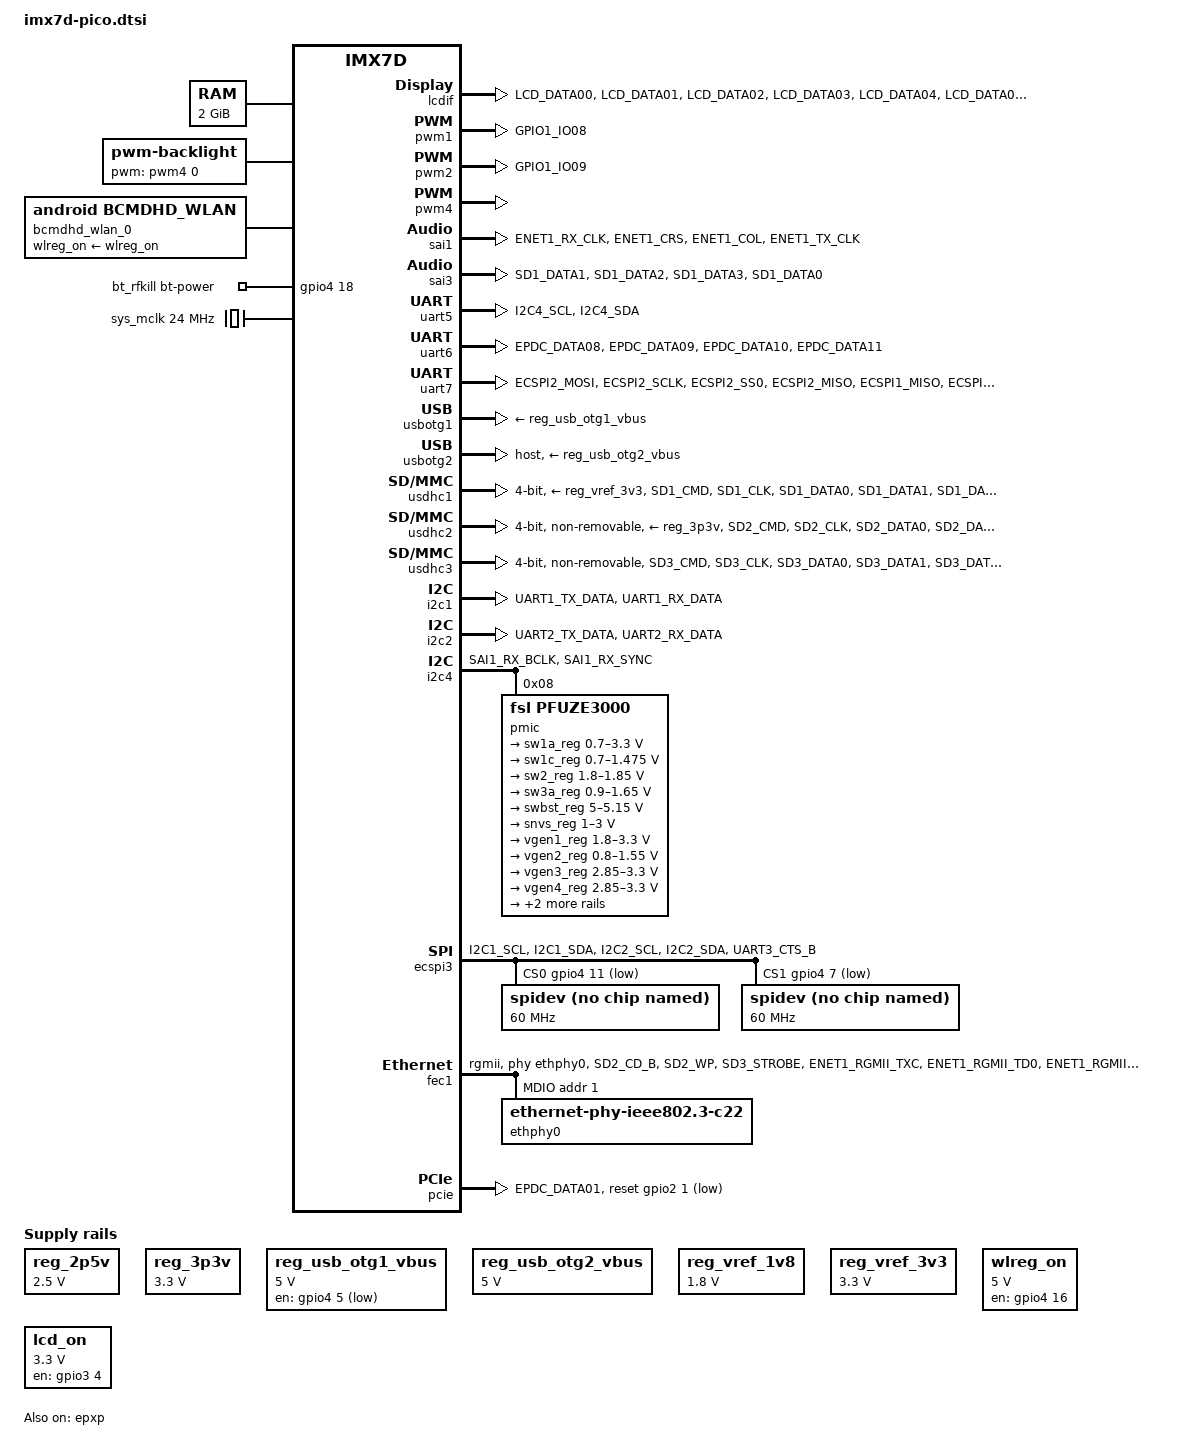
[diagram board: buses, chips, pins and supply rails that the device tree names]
/*
 * Copyright 2016 Technexion Ltd.
 * Copyright 2017 NXP
 *
 * Author: Tapani Utriainen <tapani@technexion.com>
 *
 * This program is free software; you can redistribute it and/or modify
 * it under the terms of the GNU General Public License version 2 as
 * published by the Free Software Foundation.
 *
 */

#include <dt-bindings/input/input.h>
#include <dt-bindings/gpio/gpio.h>

/* audio codec */
#define PICO_AUD_I2S_CHANNEL sai1
#define PICO_AUD_MUX_INT 3
#define PICO_AUD_MUX_EXT 3
#define PICO_AUD_CLK_SRC sys_mclk 1

/* GPIOs on PICO connector */
#define PICO_EXT_GPIO_P24 gpio2 0
#define PICO_EXT_GPIO_P26 gpio2 1
#define PICO_EXT_GPIO_P28 gpio2 2
#define PICO_EXT_GPIO_P30 gpio2 3
#define PICO_EXT_GPIO_P32 gpio2 4
#define PICO_EXT_GPIO_P34 gpio2 5
#define PICO_EXT_GPIO_P25 gpio2 6
#define PICO_EXT_GPIO_P48 gpio2 7
#define PICO_EXT_GPIO_P42 gpio2 12
#define PICO_EXT_GPIO_P44 gpio2 13

/* GPIOs that go to expansion header on baseboard */
#define PICO_EXT_GPIO_EXP0 pca9554 0
#define PICO_EXT_GPIO_EXP1 pca9554 1
#define PICO_EXT_GPIO_EXP2 pca9554 2
#define PICO_EXT_GPIO_EXP3 pca9554 3
#define PICO_EXT_GPIO_EXP4 pca9554 4
#define PICO_EXT_GPIO_EXP5 pca9554 5
#define PICO_EXT_GPIO_EXP6 gpio5 30
#define PICO_EXT_GPIO_EXP7 gpio5 27

#define can1 flexcan1
#define can2 flexcan2
#define reg_1p8v reg_vref_1v8

#define PICO_EXT_MIPI_CSI_OV5645_IOMUX &pinctrl_mipi_csi
#define PICO_EXT_GPIO_P65 gpio1 5
#define PICO_EXT_GPIO_P67 gpio1 4

/ {
	aliases {
		mxcfb0 = &mxcfb1;
	};

	memory {
		reg = <0x80000000 0x80000000>;
	};

	backlight {
		compatible = "pwm-backlight";
		pinctrl-names = "default";
		pinctrl-0 = <&pinctrl_backlight>;
		pwms = <&pwm4 0 5000000 0>;
		brightness-levels = <0 4 8 16 32 64 128 255>;
		default-brightness-level = <6>;
		status = "okay";
	};

	bcmdhd_wlan_0: bcmdhd_wlan@0 {
		compatible = "android,bcmdhd_wlan";
		pinctrl-names = "default";
		pinctrl-0 = <&pinctrl_wifi_ctrl &pinctrl_bt_ctrl>;
		status = "okay";
		wlreg_on-supply = <&wlreg_on>;
		clocks = <&clks IMX7D_CLKO2_ROOT_DIV>;
	};

	bt_rfkill {
		compatible = "fsl,mxc_bt_rfkill";
		bt-power-gpios = <&gpio4 18 0>;
		status ="okay";
	};

	pxp_v4l2_out {
		compatible = "fsl,imx7d-pxp-v4l2", "fsl,imx6sx-pxp-v4l2", "fsl,imx6sl-pxp-v4l2";
		status = "okay";
	};

	regulators {
		compatible = "simple-bus";
		#address-cells = <1>;
		#size-cells = <0>;

		reg_2p5v: 2p5v {
			compatible = "regulator-fixed";
			regulator-name = "2P5V";
			regulator-min-microvolt = <2500000>;
			regulator-max-microvolt = <2500000>;
			regulator-always-on;
		};

		reg_3p3v: 3p3v {
			compatible = "regulator-fixed";
			regulator-name = "3P3V";
			regulator-min-microvolt = <3300000>;
			regulator-max-microvolt = <3300000>;
			regulator-always-on;
		};

		reg_usb_otg1_vbus: regulator@0 {
			compatible = "regulator-fixed";
			regulator-name = "usb_otg1_vbus";
			regulator-min-microvolt = <5000000>;
			regulator-max-microvolt = <5000000>;
			gpio = <&gpio4 5 GPIO_ACTIVE_LOW>;
			enable-active-low;
		};

		reg_usb_otg2_vbus: regulator@1 {
			compatible = "regulator-fixed";
			reg = <1>;
			regulator-name = "usb_otg2_vbus";
			regulator-min-microvolt = <5000000>;
			regulator-max-microvolt = <5000000>;
		};

		reg_vref_1v8: regulator@5 {
			compatible = "regulator-fixed";
			reg = <5>;
			regulator-name = "vref-1v8";
			regulator-min-microvolt = <1800000>;
			regulator-max-microvolt = <1800000>;
		};

		reg_vref_3v3: regulator@6 {
			compatible = "regulator-fixed";
			regulator-name = "vref-3v3";
			regulator-min-microvolt = <3300000>;
			regulator-max-microvolt = <3300000>;
		};

		wlreg_on: fixedregulator@100 {
			compatible = "regulator-fixed";
			regulator-min-microvolt = <5000000>;
			regulator-max-microvolt = <5000000>;
			regulator-name = "wlreg_on";
			gpio = <&gpio4 16 GPIO_ACTIVE_HIGH>;
			enable-active-high;
		};

		lcd_on: lcd_on {
			compatible = "regulator-fixed";
			regulator-name = "LCD_VDD";
			reg = <0>;
			regulator-min-microvolt = <3300000>;
			regulator-max-microvolt = <3300000>;
			gpio = <&gpio3 4 GPIO_ACTIVE_HIGH>;
			enable-active-high;
			regulator-boot-on;
		};
	};

	clocks {
		sys_mclk: clock {
			compatible = "fixed-clock";
			#clock-cells = <0>;
			clock-frequency = <24000000>;
		};
	};

	sound-xtor {
		compatible = "fsl,imx-audio-xtor";
		model = "xtor-audio";
		cpu-dai = <&sai3>;
		cpu-master = <1>;
	};

	mxcfb1: fb@0 {
		compatible = "fsl,mxc_sdc_fb";
		disp_dev = "lcdif";
		interface_pix_fmt = "RGB24";
		default_bpp = <32>;
		int_clk = <0>;
		late_init = <0>;
		status = "okay";
	};};

&iomuxc {
	pinctrl-names = "default";
	pinctrl-0 = <&pinctrl_hog_1 &pinctrl_gpio>;

	imx7d-pico {
		pinctrl_hog_1: hoggrp-1 {
			fsl,pins = <
				MX7D_PAD_ECSPI2_SS0__GPIO4_IO23		0x80000000  /* bt reg on */
				MX7D_PAD_SD1_CD_B__GPIO5_IO0		0x59 /* baseboard sd cd pin */
				MX7D_PAD_GPIO1_IO03__CCM_CLKO2		0x7d /* wifi LPO 32K Hz clock */
				MX7D_PAD_GPIO1_IO07__GPIO1_IO7		0x59 /* pmic sd_vel pin*/
				MX7D_PAD_GPIO1_IO00__WDOD1_WDOG_B	0x74
			>;
		};

		pinctrl_ecspi3: ecspi3grp {
			fsl,pins = <
				MX7D_PAD_I2C1_SCL__ECSPI3_MISO	0x2
				MX7D_PAD_I2C1_SDA__ECSPI3_MOSI	0x2
				MX7D_PAD_I2C2_SCL__ECSPI3_SCLK	0x2
			>;
		};

		pinctrl_ecspi3_cs: ecspi3_cs_grp {
			fsl,pins = <
				MX7D_PAD_I2C2_SDA__GPIO4_IO11	0x80000000
				MX7D_PAD_UART3_CTS_B__GPIO4_IO7 0x80000000
			>;
		};

		pinctrl_enet1: enet1grp { /* REF CLK is set under LPSR pins */
			fsl,pins = <
				MX7D_PAD_SD2_CD_B__ENET1_MDIO			0x3
				MX7D_PAD_SD2_WP__ENET1_MDC			0x3
				MX7D_PAD_SD3_STROBE__GPIO6_IO10                 0x3  /* MDIO interrupt*/

				MX7D_PAD_ENET1_RGMII_TXC__ENET1_RGMII_TXC	0x1
				MX7D_PAD_ENET1_RGMII_TD0__ENET1_RGMII_TD0	0x1
				MX7D_PAD_ENET1_RGMII_TD1__ENET1_RGMII_TD1	0x1
				MX7D_PAD_ENET1_RGMII_TD2__ENET1_RGMII_TD2	0x1
				MX7D_PAD_ENET1_RGMII_TD3__ENET1_RGMII_TD3	0x1
				MX7D_PAD_ENET1_RGMII_TX_CTL__ENET1_RGMII_TX_CTL	0x1
				MX7D_PAD_ENET1_RGMII_RXC__ENET1_RGMII_RXC	0x1
				MX7D_PAD_ENET1_RGMII_RD0__ENET1_RGMII_RD0	0x1
				MX7D_PAD_ENET1_RGMII_RD1__ENET1_RGMII_RD1	0x1
				MX7D_PAD_ENET1_RGMII_RD2__ENET1_RGMII_RD2	0x1
				MX7D_PAD_ENET1_RGMII_RD3__ENET1_RGMII_RD3	0x1
				MX7D_PAD_ENET1_RGMII_RX_CTL__ENET1_RGMII_RX_CTL	0x1
				MX7D_PAD_SD3_RESET_B__GPIO6_IO11                0x1  /* Ethernet reset */
			>;
		};

		pinctrl_i2c1: i2c1grp {
			fsl,pins = <
				MX7D_PAD_UART1_TX_DATA__I2C1_SDA	0x4000007f
				MX7D_PAD_UART1_RX_DATA__I2C1_SCL	0x4000007f
			>;
		};

		pinctrl_i2c2: i2c2grp {
			fsl,pins = <
				MX7D_PAD_UART2_TX_DATA__I2C2_SDA	0x4000007f
				MX7D_PAD_UART2_RX_DATA__I2C2_SCL	0x4000007f
			>;
		};

		pinctrl_i2c4: i2c4grp {
			fsl,pins = <
				MX7D_PAD_SAI1_RX_BCLK__I2C4_SDA		0x4000007f
				MX7D_PAD_SAI1_RX_SYNC__I2C4_SCL		0x4000007f
			>;
		};

		pinctrl_lcdif_dat: lcdifdatgrp {
			fsl,pins = <
				MX7D_PAD_LCD_DATA00__LCD_DATA0	0x79
				MX7D_PAD_LCD_DATA01__LCD_DATA1	0x79
				MX7D_PAD_LCD_DATA02__LCD_DATA2	0x79
				MX7D_PAD_LCD_DATA03__LCD_DATA3	0x79
				MX7D_PAD_LCD_DATA04__LCD_DATA4	0x79
				MX7D_PAD_LCD_DATA05__LCD_DATA5	0x79
				MX7D_PAD_LCD_DATA06__LCD_DATA6	0x79
				MX7D_PAD_LCD_DATA07__LCD_DATA7	0x79
				MX7D_PAD_LCD_DATA08__LCD_DATA8	0x79
				MX7D_PAD_LCD_DATA09__LCD_DATA9	0x79
				MX7D_PAD_LCD_DATA10__LCD_DATA10	0x79
				MX7D_PAD_LCD_DATA11__LCD_DATA11	0x79
				MX7D_PAD_LCD_DATA12__LCD_DATA12	0x79
				MX7D_PAD_LCD_DATA13__LCD_DATA13	0x79
				MX7D_PAD_LCD_DATA14__LCD_DATA14	0x79
				MX7D_PAD_LCD_DATA15__LCD_DATA15	0x79
				MX7D_PAD_LCD_DATA16__LCD_DATA16	0x79
				MX7D_PAD_LCD_DATA17__LCD_DATA17	0x79
				MX7D_PAD_LCD_DATA18__LCD_DATA18	0x79
				MX7D_PAD_LCD_DATA19__LCD_DATA19	0x79
				MX7D_PAD_LCD_DATA20__LCD_DATA20	0x79
				MX7D_PAD_LCD_DATA21__LCD_DATA21	0x79
				MX7D_PAD_LCD_DATA22__LCD_DATA22	0x79
				MX7D_PAD_LCD_DATA23__LCD_DATA23	0x79
			>;
		};

		pinctrl_lcdif_ctrl: lcdifctrlgrp {
			fsl,pins = <
				MX7D_PAD_LCD_CLK__LCD_CLK	0x79
				MX7D_PAD_LCD_ENABLE__LCD_ENABLE	0x79
				MX7D_PAD_LCD_VSYNC__LCD_VSYNC	0x79
				MX7D_PAD_LCD_HSYNC__LCD_HSYNC	0x79
				MX7D_PAD_LCD_RESET__GPIO3_IO4	0x14
				//MX7D_PAD_LCD_RESET__LCD_RESET	0x79
			>;
		};

		pinctrl_sai1: sai1grp {
			fsl,pins = <
				MX7D_PAD_ENET1_RX_CLK__SAI1_TX_BCLK	0x1f
				MX7D_PAD_ENET1_CRS__SAI1_TX_SYNC	0x1f
				MX7D_PAD_ENET1_COL__SAI1_TX_DATA0	0x30
				MX7D_PAD_ENET1_TX_CLK__SAI1_RX_DATA0	0x1f
			>;
		};

		pinctrl_sai3: sai3grp {
			fsl,pins = <
				MX7D_PAD_SD1_DATA1__SAI3_TX_BCLK   0x1f
				MX7D_PAD_SD1_DATA2__SAI3_TX_SYNC   0x1f
				MX7D_PAD_SD1_DATA3__SAI3_TX_DATA0  0x30
				MX7D_PAD_SD1_DATA0__SAI3_RX_DATA0  0x1f
			>;
		};

		pinctrl_uart5: uart5grp {
			fsl,pins = <
				MX7D_PAD_I2C4_SCL__UART5_DCE_RX 0x79
				MX7D_PAD_I2C4_SDA__UART5_DCE_TX 0x79
			>;
		};

		pinctrl_uart6: uart6grp {
			fsl,pins = <
				MX7D_PAD_EPDC_DATA08__UART6_DCE_RX  0x79
				MX7D_PAD_EPDC_DATA09__UART6_DCE_TX  0x79
				MX7D_PAD_EPDC_DATA10__UART6_DCE_RTS 0x79
				MX7D_PAD_EPDC_DATA11__UART6_DCE_CTS 0x79
			>;
		};

		pinctrl_uart7: uart7grp {
			fsl,pins = <
				MX7D_PAD_ECSPI2_MOSI__UART7_DCE_TX  0x79
				MX7D_PAD_ECSPI2_SCLK__UART7_DCE_RX  0x79
				MX7D_PAD_ECSPI2_SS0__UART7_DCE_CTS  0x79
				MX7D_PAD_ECSPI2_MISO__UART7_DCE_RTS 0x79
			>;
		};

		pinctrl_usbotg1_pwr: usbotg_pwr {
			fsl,pins = <
				MX7D_PAD_UART3_TX_DATA__GPIO4_IO5	0x14
			>;
		};

		pinctrl_can_1: can-1 {
			fsl,pins = <
				MX7D_PAD_SAI1_RX_DATA__FLEXCAN1_RX	0x59
				MX7D_PAD_SAI1_TX_BCLK__FLEXCAN1_TX	0x59f
			>;
		};

		pinctrl_can_2: can-2 {
			fsl,pins = <
				MX7D_PAD_SAI1_TX_SYNC__FLEXCAN2_RX	0x59
				MX7D_PAD_SAI1_TX_DATA__FLEXCAN2_TX	0x59
			>;
		};

		pinctrl_usdhc1: usdhc1grp {
			fsl,pins = <
				MX7D_PAD_SD1_CMD__SD1_CMD		0x59
				MX7D_PAD_SD1_CLK__SD1_CLK		0x19
				MX7D_PAD_SD1_DATA0__SD1_DATA0		0x59
				MX7D_PAD_SD1_DATA1__SD1_DATA1		0x59
				MX7D_PAD_SD1_DATA2__SD1_DATA2		0x59
				MX7D_PAD_SD1_DATA3__SD1_DATA3		0x59
				MX7D_PAD_SD1_CD_B__GPIO5_IO0		0x15
			>;
		};

		pinctrl_usdhc1_100mhz: usdhc1grp_100mhz {
			fsl,pins = <
				MX7D_PAD_SD1_CMD__SD1_CMD		0x5a
				MX7D_PAD_SD1_CLK__SD1_CLK		0x1a
				MX7D_PAD_SD1_DATA0__SD1_DATA0		0x5a
				MX7D_PAD_SD1_DATA1__SD1_DATA1		0x5a
				MX7D_PAD_SD1_DATA2__SD1_DATA2		0x5a
				MX7D_PAD_SD1_DATA3__SD1_DATA3		0x5a
				MX7D_PAD_SD1_CD_B__GPIO5_IO0		0x15
			>;
		};

		pinctrl_usdhc1_200mhz: usdhc1grp_200mhz {
			fsl,pins = <
				MX7D_PAD_SD1_CMD__SD1_CMD		0x5b
				MX7D_PAD_SD1_CLK__SD1_CLK		0x1b
				MX7D_PAD_SD1_DATA0__SD1_DATA0		0x5b
				MX7D_PAD_SD1_DATA1__SD1_DATA1		0x5b
				MX7D_PAD_SD1_DATA2__SD1_DATA2		0x5b
				MX7D_PAD_SD1_DATA3__SD1_DATA3		0x5b
				MX7D_PAD_SD1_CD_B__GPIO5_IO0		0x15
			>;
		};

		pinctrl_usdhc2: usdhc2grp {
			fsl,pins = <
				MX7D_PAD_SD2_CMD__SD2_CMD       0x59
				MX7D_PAD_SD2_CLK__SD2_CLK       0x19
				MX7D_PAD_SD2_DATA0__SD2_DATA0   0x59
				MX7D_PAD_SD2_DATA1__SD2_DATA1   0x59
				MX7D_PAD_SD2_DATA2__SD2_DATA2   0x59
				MX7D_PAD_SD2_DATA3__SD2_DATA3   0x59
			>;
		};

		pinctrl_usdhc2_100mhz: usdhc2grp_100mhz {
			fsl,pins = <
				MX7D_PAD_SD2_CMD__SD2_CMD       0x5a
				MX7D_PAD_SD2_CLK__SD2_CLK       0x1a
				MX7D_PAD_SD2_DATA0__SD2_DATA0   0x5a
				MX7D_PAD_SD2_DATA1__SD2_DATA1   0x5a
				MX7D_PAD_SD2_DATA2__SD2_DATA2   0x5a
				MX7D_PAD_SD2_DATA3__SD2_DATA3   0x5a
			>;
		};

		pinctrl_usdhc2_200mhz: usdhc2grp_200mhz {
			fsl,pins = <
				MX7D_PAD_SD2_CMD__SD2_CMD       0x5b
				MX7D_PAD_SD2_CLK__SD2_CLK       0x1b
				MX7D_PAD_SD2_DATA0__SD2_DATA0   0x5b
				MX7D_PAD_SD2_DATA1__SD2_DATA1   0x5b
				MX7D_PAD_SD2_DATA2__SD2_DATA2   0x5b
				MX7D_PAD_SD2_DATA3__SD2_DATA3   0x5b
			>;
		};

		pinctrl_usdhc3: usdhc3grp {
			fsl,pins = <
				MX7D_PAD_SD3_CMD__SD3_CMD		0x59
				MX7D_PAD_SD3_CLK__SD3_CLK		0x19
				MX7D_PAD_SD3_DATA0__SD3_DATA0		0x59
				MX7D_PAD_SD3_DATA1__SD3_DATA1		0x59
				MX7D_PAD_SD3_DATA2__SD3_DATA2		0x59
				MX7D_PAD_SD3_DATA3__SD3_DATA3		0x59
				MX7D_PAD_SD3_DATA4__SD3_DATA4		0x59
				MX7D_PAD_SD3_DATA5__SD3_DATA5		0x59
				MX7D_PAD_SD3_DATA6__SD3_DATA6		0x59
				MX7D_PAD_SD3_DATA7__GPIO6_IO9		0x59 /* cpu module sd cd pin */
			>;
		};

		pinctrl_usdhc3_100mhz: usdhc3grp_100mhz {
			fsl,pins = <
				MX7D_PAD_SD3_CMD__SD3_CMD		0x5a
				MX7D_PAD_SD3_CLK__SD3_CLK		0x1a
				MX7D_PAD_SD3_DATA0__SD3_DATA0		0x5a
				MX7D_PAD_SD3_DATA1__SD3_DATA1		0x5a
				MX7D_PAD_SD3_DATA2__SD3_DATA2		0x5a
				MX7D_PAD_SD3_DATA3__SD3_DATA3		0x5a
				MX7D_PAD_SD3_DATA4__SD3_DATA4		0x5a
				MX7D_PAD_SD3_DATA5__SD3_DATA5		0x5a
				MX7D_PAD_SD3_DATA6__SD3_DATA6		0x5a
				MX7D_PAD_SD3_DATA7__GPIO6_IO9		0x15 /* cpu module sd cd pin */
			>;
		};

		pinctrl_usdhc3_200mhz: usdhc3grp_200mhz {
			fsl,pins = <
				MX7D_PAD_SD3_CMD__SD3_CMD		0x5b
				MX7D_PAD_SD3_CLK__SD3_CLK		0x1b
				MX7D_PAD_SD3_DATA0__SD3_DATA0		0x5b
				MX7D_PAD_SD3_DATA1__SD3_DATA1		0x5b
				MX7D_PAD_SD3_DATA2__SD3_DATA2		0x5b
				MX7D_PAD_SD3_DATA3__SD3_DATA3		0x5b
				MX7D_PAD_SD3_DATA4__SD3_DATA4		0x5b
				MX7D_PAD_SD3_DATA5__SD3_DATA5		0x5b
				MX7D_PAD_SD3_DATA6__SD3_DATA6		0x5b
				MX7D_PAD_SD3_DATA7__GPIO6_IO9		0x15 /* cpu module sd cd pin */
			>;
		};

		pinctrl_pwm1: pwm1 {
			fsl,pins = <
				MX7D_PAD_GPIO1_IO08__PWM1_OUT   0x7f
			>;
		};

		pinctrl_pwm2: pwm2 {
			fsl,pins = <
				MX7D_PAD_GPIO1_IO09__PWM2_OUT   0x7f
			>;
		};

		pinctrl_pwm3: pwm3 {
			fsl,pins = <
				MX7D_PAD_GPIO1_IO10__PWM3_OUT   0x7f
			>;
		};

		pinctrl_backlight: backlight {
			fsl,pins = <
				MX7D_PAD_GPIO1_IO11__PWM4_OUT   0x0
			>;
		};


		pinctrl_wdog: wdoggrp {
			fsl,pins = <
				MX7D_PAD_GPIO1_IO00__WDOD1_WDOG_B 0x74
			>;
		};

		pinctrl_wifi_ctrl: wifi_ctrlgrp {
			fsl,pins = <
				MX7D_PAD_ECSPI1_SCLK__GPIO4_IO16       0x59 /* wifi-reg-on */
				MX7D_PAD_ECSPI1_SS0__GPIO4_IO19        0x59 /* wifi-host-wake */
			>;
		};

		pinctrl_bt_ctrl: bt_ctrlgrp {
			fsl,pins = <
				MX7D_PAD_ECSPI1_MISO__GPIO4_IO18       0x55 /* bluetooth-reg-on */
				MX7D_PAD_ECSPI1_MOSI__GPIO4_IO17       0x55 /* bluetooth-wake */
				MX7D_PAD_SD2_RESET_B__GPIO5_IO11       0x55 /* bluetooth-host-wake */
			>;
		};

		pinctrl_pcie: pcie_ctrlgrp {
			fsl,pins = <
				MX7D_PAD_EPDC_DATA01__GPIO2_IO1       0x15 /* pcie reset */
			>;
		};

		pinctrl_gpio: gpio_ctrlgrp {
			fsl,pins = <
				MX7D_PAD_EPDC_DATA00__GPIO2_IO0		0x15 /* P24 */
				MX7D_PAD_EPDC_DATA02__GPIO2_IO2		0x15 /* P28 */
				MX7D_PAD_EPDC_DATA03__GPIO2_IO3		0x15 /* P30 */
				MX7D_PAD_EPDC_DATA04__GPIO2_IO4		0x15 /* P32 */
				MX7D_PAD_EPDC_DATA05__GPIO2_IO5		0x15 /* P34 */
				MX7D_PAD_EPDC_DATA06__GPIO2_IO6		0x15 /* P25 */
				MX7D_PAD_EPDC_DATA07__GPIO2_IO7		0x15 /* P48 */
				MX7D_PAD_EPDC_DATA12__GPIO2_IO12	0x15 /* P42 */
				MX7D_PAD_EPDC_DATA13__GPIO2_IO13	0x15 /* P44 */
				MX7D_PAD_GPIO1_IO10__GPIO1_IO10		0x15 /* PWM3 */
				MX7D_PAD_SAI1_RX_DATA__GPIO6_IO12	0x15 /* CAN1_RX */
				MX7D_PAD_SAI1_TX_BCLK__GPIO6_IO13	0x15 /* CAN1_TX */
				MX7D_PAD_SAI1_TX_DATA__GPIO6_IO15	0x15 /* CAN2_TX */
				MX7D_PAD_SAI1_TX_SYNC__GPIO6_IO14	0x15 /* CAN2_RX */
			>;
		};
	};
};

&lcdif {
	pinctrl-names = "default";
	pinctrl-0 = <&pinctrl_lcdif_dat
		     &pinctrl_lcdif_ctrl>;
	lcd-supply = <&lcd_on>;
	display = <&display0>;
	status = "okay";

	display0: display {
		bits-per-pixel = <16>;
		bus-width = <24>;

		display-timings {
			native-mode = <&timing0>;
			timing0: timing0 {
				clock-frequency = <33260000>;
				hactive = <800>;
				vactive = <480>;
				hback-porch = <11>;
				hfront-porch = <11>;
				vback-porch = <12>;
				vfront-porch = <11>;
				hsync-len = <46>;
				vsync-len = <210>;
				hsync-active = <0>;
				vsync-active = <0>;
				de-active = <1>;
				pixelclk-active = <1>;
				interlaced =  <0>;
			};
		};
	};
};

&pwm1 {
	pinctrl-names = "default";
	pinctrl-0 = <&pinctrl_pwm1>;
	status = "okay";
};

&pwm2 {
	pinctrl-names = "default";
	pinctrl-0 = <&pinctrl_pwm2>;
	status = "okay";
};


&pwm4 { /* Backlight */
	status = "okay";
};

&sai1 {
	pinctrl-names = "default";
	pinctrl-0 = <&pinctrl_sai1>;
	assigned-clocks = <&clks IMX7D_SAI1_ROOT_SRC>,
			  <&clks IMX7D_SAI1_ROOT_CLK>;
	assigned-clock-parents = <&clks IMX7D_PLL_AUDIO_POST_DIV>;
	assigned-clock-rates = <0>, <24576000>;
	status = "okay";
};

&sai3 {
	pinctrl-names = "default";
	pinctrl-0 = <&pinctrl_sai3>;
	assigned-clocks = <&clks IMX7D_SAI3_ROOT_SRC>,
			  <&clks IMX7D_SAI3_ROOT_CLK>;
	assigned-clock-parents = <&clks IMX7D_PLL_AUDIO_POST_DIV>;
	assigned-clock-rates = <0>, <36864000>;
	status = "okay";
};

&sdma {
	status = "okay";
};

&uart5 {
	pinctrl-names = "default";
	pinctrl-0 = <&pinctrl_uart5>;
	assigned-clocks = <&clks IMX7D_UART5_ROOT_SRC>;
	assigned-clock-parents = <&clks IMX7D_OSC_24M_CLK>;
	status = "okay";
};

&uart6 {
	pinctrl-names = "default";
	pinctrl-0 = <&pinctrl_uart6>;
	assigned-clocks = <&clks IMX7D_UART6_ROOT_SRC>;
	assigned-clock-parents = <&clks IMX7D_OSC_24M_CLK>;
	fsl,uart-has-rtscts;
	status = "okay";
};

&uart7 { /* Bluetooth */
	pinctrl-names = "default";
	pinctrl-0 = <&pinctrl_uart7 &pinctrl_bt_ctrl>;
	assigned-clocks = <&clks IMX7D_UART7_ROOT_SRC>;
	assigned-clock-parents = <&clks IMX7D_PLL_SYS_MAIN_240M_CLK>;
	fsl,uart-has-rtscts;
	status = "okay";
};

&usbotg1 {
	vbus-supply = <&reg_usb_otg1_vbus>;
	srp-disable;
	hnp-disable;
	adp-disable;
	status = "okay";
};

&usbotg2 {
	vbus-supply = <&reg_usb_otg2_vbus>;
	dr_mode = "host";
	status = "okay";
};

&usdhc1 {
	pinctrl-names = "default", "state_100mhz", "state_200mhz";
	pinctrl-0 = <&pinctrl_usdhc1>;
	pinctrl-1 = <&pinctrl_usdhc1_100mhz>;
	pinctrl-2 = <&pinctrl_usdhc1_200mhz>;
	cd-gpios = <&gpio5 0 GPIO_ACTIVE_LOW>;
	bus-width = <4>;
	tuning-step = <2>;
	vmmc-supply = <&reg_vref_3v3>;
	enable-sdio-wakeup;
	no-1-8-v;
	keep-power-in-suspend;
	status = "okay";
};

&usdhc2 {
	pinctrl-names = "default", "state_100mhz", "state_200mhz";
	pinctrl-0 = <&pinctrl_usdhc2>;
	bus-width = <4>;
	vmmc-supply = <&reg_3p3v>;
	no-1-8-v;
	keep-power-in-suspend;
	non-removable;
	cd-post;
	pm-ignore-notify;
	wifi-host;
	status = "okay";
};

&usdhc3 {
	pinctrl-names = "default", "state_100mhz", "state_200mhz";
	pinctrl-0 = <&pinctrl_usdhc3>;
	pinctrl-1 = <&pinctrl_usdhc3_100mhz>;
	pinctrl-2 = <&pinctrl_usdhc3_200mhz>;
	cd-gpios = <&gpio6 9 GPIO_ACTIVE_LOW>;
	assigned-clocks = <&clks IMX7D_USDHC3_ROOT_CLK>;
	assigned-clock-rates = <400000000>;
	bus-width = <4>;
	non-removable;
	tuning-step = <2>;
	enable-sdio-wakeup;
	no-1-8-v;
	keep-power-in-suspend;
	status = "okay";
};

&wdog1 {
	pinctrl-names = "default";
	pinctrl-0 = <&pinctrl_wdog>;
	fsl,wdog_b;
};

&i2c1 {
	pinctrl-names = "default";
	pinctrl-0 = <&pinctrl_i2c1>;
	status = "okay";
};

&i2c2 {
	pinctrl-names = "default";
	pinctrl-0 = <&pinctrl_i2c2>;
	status = "okay";
};

&i2c4 {
	pinctrl-names = "default";
	pinctrl-0 = <&pinctrl_i2c4>;
	status = "okay";

	pmic: pfuze3000@08 {
		compatible = "fsl,pfuze3000";
		reg = <0x08>;
		fsl,lpsr-mode;

		regulators {
			sw1a_reg: sw1a {
				regulator-min-microvolt = <700000>;
				regulator-max-microvolt = <3300000>;
				regulator-boot-on;
				regulator-always-on;
				regulator-ramp-delay = <6250>;
			};
			/* use sw1c_reg to align with pfuze100/pfuze200 */
			sw1c_reg: sw1b {
				regulator-min-microvolt = <700000>;
				regulator-max-microvolt = <1475000>;
				regulator-boot-on;
				regulator-always-on;
				regulator-ramp-delay = <6250>;
			};

			sw2_reg: sw2 {
				regulator-min-microvolt = <1800000>;
				regulator-max-microvolt = <1850000>;
				regulator-boot-on;
				regulator-always-on;
			};

			sw3a_reg: sw3 {
				regulator-min-microvolt = <900000>;
				regulator-max-microvolt = <1650000>;
				regulator-boot-on;
				regulator-always-on;
			};

			swbst_reg: swbst {
				regulator-min-microvolt = <5000000>;
				regulator-max-microvolt = <5150000>;
			};

			snvs_reg: vsnvs {
				regulator-min-microvolt = <1000000>;
				regulator-max-microvolt = <3000000>;
				regulator-boot-on;
				regulator-always-on;
			};

			vref_reg: vrefddr {
				regulator-boot-on;
				regulator-always-on;
			};

			vgen1_reg: vldo1 {
				regulator-min-microvolt = <1800000>;
				regulator-max-microvolt = <3300000>;
				regulator-always-on;
			};

			vgen2_reg: vldo2 {
				regulator-min-microvolt = <800000>;
				regulator-max-microvolt = <1550000>;
			};

			vgen3_reg: vccsd {
				regulator-min-microvolt = <2850000>;
				regulator-max-microvolt = <3300000>;
				regulator-always-on;
			};

			vgen4_reg: v33 {
				regulator-min-microvolt = <2850000>;
				regulator-max-microvolt = <3300000>;
				regulator-always-on;
			};

			vgen5_reg: vldo3 {
				regulator-min-microvolt = <1800000>;
				regulator-max-microvolt = <3300000>;
				regulator-always-on;
			};

			vgen6_reg: vldo4 {
				regulator-min-microvolt = <1800000>;
				regulator-max-microvolt = <3300000>;
				regulator-always-on;
			};
		};
	};
};

&ecspi3 {
	fsl,spi-num-chipselects = <2>;
	cs-gpios = <&gpio4 11 GPIO_ACTIVE_LOW>,
		   <&gpio4 7 GPIO_ACTIVE_LOW>;
	pinctrl-names = "default";
	pinctrl-0 = <&pinctrl_ecspi3 &pinctrl_ecspi3_cs>;
	status = "okay";

	spidev@0 {
		compatible = "rohm,dh2228fv";
		spi-max-frequency = <60000000>;
		reg = <0>;
	};

        spidev@1 {
                compatible = "rohm,dh2228fv";
                spi-max-frequency = <60000000>;
                reg = <1>;
        };

};

&cpu0 {
	arm-supply = <&sw1a_reg>;
};

&iomuxc_lpsr {
	pinctrl-names = "default";
	pinctrl-0 = <&pinctrl_lcd_vdden>;

	imx7d-pico-miscpins {
		pinctrl_enet_refclk: enet_refclk {
			fsl,pins = <
				MX7D_PAD_GPIO1_IO01__CCM_ENET_REF_CLK3		0x1
			>;
		};
		pinctrl_lcd_vdden: lcd_vdden {
			fsl,pins = <
				MX7D_PAD_GPIO1_IO06__GPIO1_IO6		0x14
			>;
		};
		pinctrl_mipi_csi: mipicsigrp-1 {
			fsl,pins = <
				MX7D_PAD_GPIO1_IO04__GPIO1_IO4 0x15 /*mipi csi power*/
				MX7D_PAD_GPIO1_IO05__GPIO1_IO5 0x15 /*mipi csi reset*/
				MX7D_PAD_GPIO1_IO02__CCM_CLKO1 0x7d /*mipi csi main clock */
			>;
		};
		pinctrl_sai1_mclk: sai1_mclk {
			 fsl,pins = <
				MX7D_PAD_GPIO1_IO01__SAI1_MCLK  0x1f
			>;
		};
	};
};

&fec1 {
	pinctrl-names = "default";
	pinctrl-0 = <&pinctrl_enet1>;
	phy-mode = "rgmii";
	phy-handle = <&ethphy0>;
	phy-reset-gpios = <&gpio6 11 0>;
	status = "okay";
	mdio {
		#address-cells = <1>;
		#size-cells = <0>;

		ethphy0: ethernet-phy@1 {
			compatible = "ethernet-phy-ieee802.3-c22";
			reg = <1>;
			status = "okay";
		};
	};
};

&fec2 {
	status = "disabled";
};


&pcie {
	pinctrl-names = "default";
	pinctrl-0 = <&pinctrl_pcie>;
	reset-gpio = <&gpio2 1 GPIO_ACTIVE_LOW>;
	status = "okay";
};

&epxp {
	status = "okay";
};

&clks {
	assigned-clocks = <&clks IMX7D_PLL_AUDIO_POST_DIV>;
	assigned-clock-rates = <884736000>;
};
